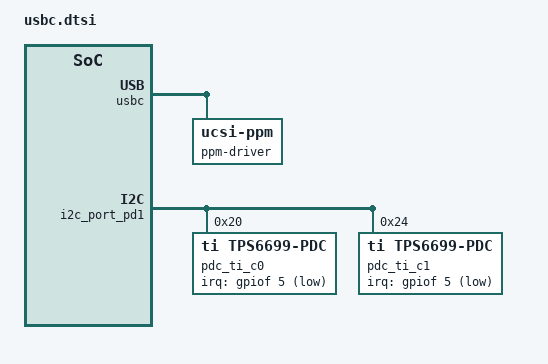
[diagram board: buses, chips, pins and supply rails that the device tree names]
/*
 * Copyright 2026 The ChromiumOS Authors
 *
 * SPDX-License-Identifier: Apache-2.0
 */

#include <usbc-policy.dtsi>

 /{
	usbc {
		#address-cells = <1>;
		#size-cells = <0>;
		usbc_port0: port0@0 {
			compatible = "named-usbc-port";
			reg = <0>;
			chg = <&charger>;
			pdc = <&pdc_ti_c0>;
			pd-retimer;
			policy = <&cros_policy>;
		};
		usbc_port1: port1@1 {
			compatible = "named-usbc-port";
			reg = <1>;
			pdc = <&pdc_ti_c1>;
			pd-retimer;
			policy = <&cros_policy>;
		};
		ppm-driver {
			compatible = "ucsi-ppm";
		};
	};
};

&i2c_port_pd1 {
	/* Define PDC IRQ GPIO(s) in board overlay */
	pdc_ti_c0: tps6699-pdc@20 {
		compatible = "ti,tps6699-pdc";
		reg = <0x20>;
		port-index-on-chip = <0x1>;
        irq-gpios = <&gpiof 5 GPIO_ACTIVE_LOW>;
		frs-supported;
		ccd;
	};
	pdc_ti_c1: tps6699-pdc@24 {
		compatible = "ti,tps6699-pdc";
		reg = <0x24>;
		port-index-on-chip = <0x2>;
        irq-gpios = <&gpiof 5 GPIO_ACTIVE_LOW>;
		frs-supported;
		no-fw-update;
	};
};
